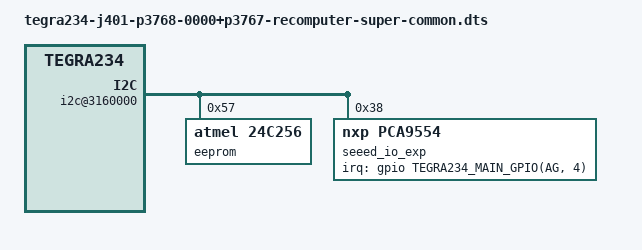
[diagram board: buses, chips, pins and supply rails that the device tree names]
// SPDX-License-Identifier: GPL-2.0-only
// SPDX-FileCopyrightText: Copyright (c) 2023, NVIDIA CORPORATION & AFFILIATES.  All rights reserved.

/dts-v1/;

#include "tegra234-super-j401-p3768-0000+p3767-0000.dts"
#include "tegra234-p3768-0000+p3767-xxxx-nv-common.dtsi"
#include <dt-bindings/tegra234-p3767-0000-common.h>

/ {
        bus@0 {
                i2c@3160000 {
                        #address-cells = <1>;
                        #size-cells = <0>;

                        eeprom@57 {
                                compatible = "atmel,24c256";
                                reg = <0x57>;
                                /*16 bit*/
                                address-width = <0x10>;
                                /*32768 bytes */
                                size = <0x8000>;
				/delete-property/ read-only;
                        };

			seeed_io_exp:io_exp@38 {
				compatible = "nxp,pca9554";
				reg = <0x38>;
				status = "okay";
				gpio-controller;
				#gpio-cells = <2>;

				interrupt-parent = <&gpio>;
				interrupts = <TEGRA234_MAIN_GPIO(AG, 4) IRQ_TYPE_LEVEL_LOW>;

				gpio-line-names =
				"CSI3_PWDN"	,"CAM_MUX1_SEL",
				"M2B_PCIe_Reset","PCIe_ETH_Reset",
				"CSI1_PWDN"	,"not_used",
				"not_used"	,"not_used";
			};
                };
        };
};
